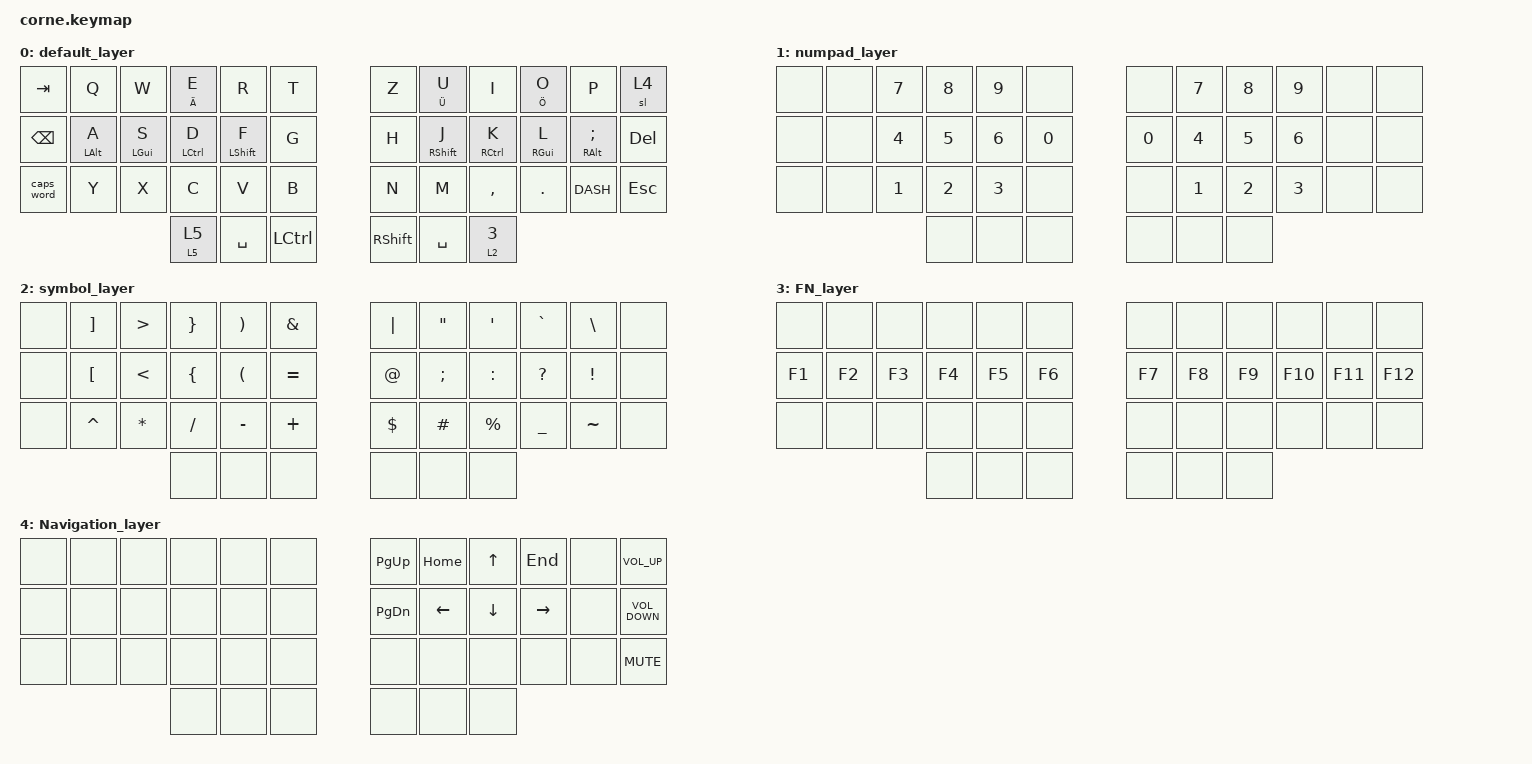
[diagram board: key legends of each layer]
/*
 * Copyright (c) 2020 The ZMK Contributors
 *
 * SPDX-License-Identifier: MIT
 */

#include <behaviors.dtsi>
#include <dt-bindings/zmk/keys.h>
#include <dt-bindings/zmk/bt.h>

/ {
	behaviors {
		hml: home_row_mod_left {
	            compatible = "zmk,behavior-hold-tap";
        	    #binding-cells = <2>;
	            flavor = "balanced";
	            require-prior-idle-ms = <150>;
	            tapping-term-ms = <280>;
	            quick-tap-ms = <175>;
	            bindings = <&kp>, <&kp>;
        	    hold-trigger-key-positions = < 6,7,8,9,10,11,18,19,20,21,22,23,30,31,32,33,34,35,39,40,41 >; // right side of the keyboard
	            hold-trigger-on-release;
        	};
	        hmr: home_row_mod_right {
	            compatible = "zmk,behavior-hold-tap";
        	    #binding-cells = <2>;
	            flavor = "balanced";
        	    require-prior-idle-ms = <150>;
        	    tapping-term-ms = <280>;
	            quick-tap-ms = <175>;
	            bindings = <&kp>, <&kp>;
        	    hold-trigger-key-positions = < 0,1,2,3,4,5,12,13,14,15,16,17,24,25,26,27,28,29,36,37,38 >; // left side of the keyboard
	            hold-trigger-on-release;
        	};
        	mo_sk: behavior_mo_sk {
        	    compatible = "zmk,behavior-hold-tap";
        	    #binding-cells = <2>;
        	    flavor = "hold-preferred";
        	    tapping-term-ms = <200>;
        	    bindings = <&mo>, <&sk>;
        	};
        	mo_tog: behavior_mo_tog {
        	    compatible = "zmk,behavior-hold-tap";
        	    #binding-cells = <2>;
        	    flavor = "hold-preferred";
        	    tapping-term-ms = <200>;
        	    bindings = <&mo>, <&tog>;
        	};
    	};

        keymap {
                compatible = "zmk,keymap";

                default_layer {
// -----------------------------------------------------------------------------------------
// |  TAB |  Q  	|  W  	  |  E (ä)    |  R  	  |  T  ||   	||  Z  |  U (ü)   |  I	     |  O (ö)  	|  P        | FN   |
// | BSPC |  A alt 	|  S os	  |  D ctrl   |  F shft   |  G  ||   	||  H  |  J shft  |  K ctrl  |  L os 	|  ; alt    | DEL  |
// | CAPS |  Y  	|  X  	  |  C        |  V  	  |  B  ||   	||  N  |  M	  |  , 	     |  .   	|  "        | ENT  |
//                    			| NAV 	| SPC 	  | CTRL|| 	|| SHIFT   | SPC    | SYM num |
                        bindings = <
   &kp TAB   &kp Q 	&kp W 	   &mt Ä E       &kp R 	   &kp T   	&kp Z &mt Ü U  	  &kp I       &mt Ö O 	 &kp P		&sl 4
   &kp BSPC  &hml LALT A &hml LGUI S &hml LCTRL D &hml LSHFT F &kp G   	&kp H &hmr RSHFT J &hmr RCTRL K &hmr RGUI L &hmr RALT SEMI  &kp DEL
   &caps_word &kp Y 	&kp X 	   &kp C       &kp V 	   &kp B   	&kp N &kp M  	  &kp COMMA   &kp DOT    &kp DASH 	&kp ESC
                 			&mo_tog 5 5 &kp SPACE &kp LCTRL   	&kp RSHIFT &kp SPACE &mo_sk 2 3
                        >;
                };
                numpad_layer {
// -----------------------------------------------------------------------------------------
// |    |      |  7   |  8   |  9   |     ||    ||     |  7   |  8   |  9   |     |     |
// |    |      |  4   |  5   |  6   |  0  ||	||  0  |  4   |  5   |  6   |     |     |
// |    |      |  1   |  2   |  3   |     || 	||     |  1   |  2   |  3   |     |     |
//                    	|     |     |     ||   	||    |     |     |
                        bindings = <
   &none &none &kp N7 &kp N8 &kp N9 &none         &none  &kp N7 &kp N8 &kp N9 &none &none
   &none &none &kp N4 &kp N5 &kp N6 &kp N0        &kp N0 &kp N4 &kp N5 &kp N6 &none &none
   &none &none &kp N1 &kp N2 &kp N3 &none         &none  &kp N1 &kp N2 &kp N3 &none &none
		     &none &none &none         &none &none &none
                        >;
                };

                symbol_layer {
// -----------------------------------------------------------------------------------------
// |      |  ]  |  >  |  }  |  )  |  &  ||	|| "|" |  "  |  '  |  `  |  \  |     |
// |      |  [  |  <  |  {  |  (  |  =  ||	||  @  |  ;  |  :  |  ?  |  !  |     |
// |      |  ^  |  *  |  /  |  -  |  +  ||	||  $  |  #  |  %  |  _  |  ~  |     |
//                    |     |     |     ||	||     |     |     |
                        bindings = <
   &none  &kp RBKT &kp GT &kp RBRC &kp RPAR &kp AMPS    	&kp PIPE &kp DQT  &kp APOS   &kp GRAVE &kp BSLH &none
   &none  &kp LBKT &kp LT &kp LBRC &kp LPAR &kp EQUAL   	&kp AT	 &kp SEMI &kp COLON  &kp QMARK &kp EXCL &none
   &none  &kp CARET &kp STAR &kp FSLH &kp MINUS &kp PLUS	&kp DOLLAR &kp HASH &kp PERCENT  &kp UNDER  &kp TILDE &none
 	                          &none &none  &none		&none 	 &none	&none
                        >;
                };

		FN_layer {
// -----------------------------------------------------------------------------------------
// |    |     |     |     |     |     ||   ||     |     |     |     |     |     |
// | F1 | F2  | F3  | F4  | F5  | F6  ||   || F7  | F8  | F9  | F10 | F11 | F12 |
// |    |     |     |     |     |     ||   ||     |     |     |     |     |     |
//                    |   |     |     ||   ||     |     |     |
                        bindings = <
   &none &none &none &none &none &none     &none &none &none &none &none &none
   &kp F1 &kp F2 &kp F3 &kp F4 &kp F5 &kp F6    &kp F7 &kp F8 &kp F9 &kp F10 &kp F11 &kp F12 
   &none &none &none &none &none &none     &none &none &none &none &none &none
              	     &none &none &none    &none &none &none
                        >;
                };

		Navigation_layer {
// -----------------------------------------------------------------------------------------
// |    |     |      |    |     |     ||   || PG_UP   | HOME |  UP   | END   |     |  VOL_UP  |
// |    |     |      |    |     |     ||   || PG_DOWN | LEFT | DOWN  | RIGHT |     |  VOL_DOWN   |
// |    |     |      |    |     |     ||   ||         |      |       |       |     |  MUTE   |
//                   |    |     |     ||   ||         |      |       |
                        bindings = <
   &none &none &none &none &none &none     &kp PG_UP &kp HOME &kp UP &kp END &none &kp C_VOL_UP
   &none &none &none &none &none &none    &kp PG_DN &kp LEFT &kp DOWN &kp RIGHT &none &kp C_VOL_DOWN
   &none &none &none &none &none &none     &none &none &none &none &none &kp C_MUTE
              	     &none &none &none    &none &none &none
                        >;
                };
        };
};
